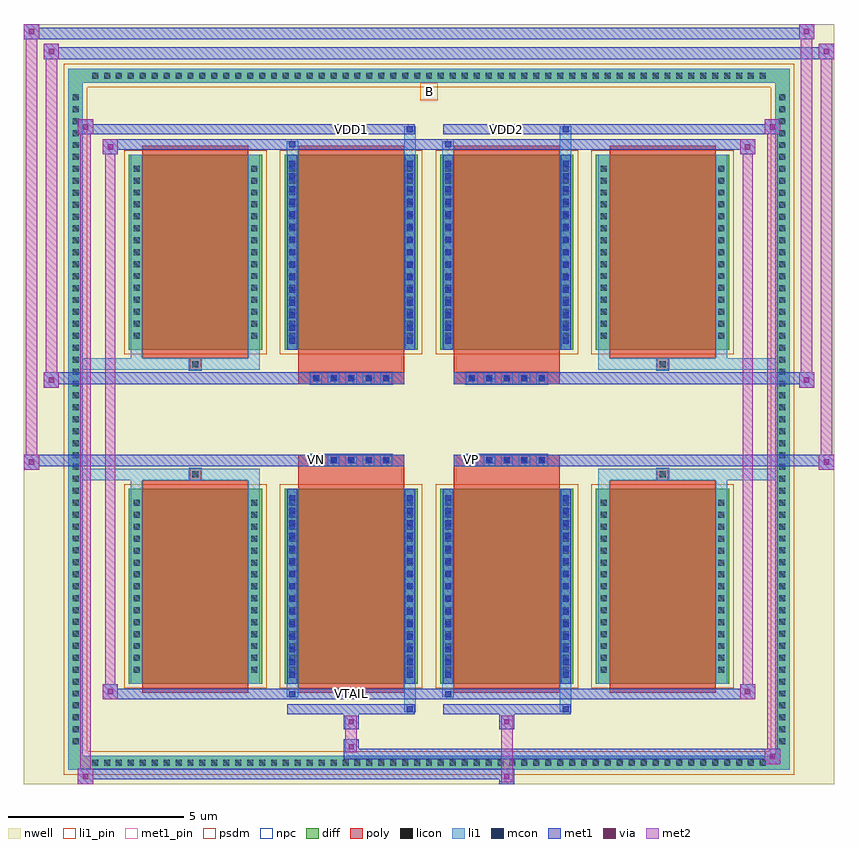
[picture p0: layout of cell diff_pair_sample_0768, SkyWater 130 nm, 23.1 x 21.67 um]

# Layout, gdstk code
import gdstk
lib = gdstk.Library(unit=1e-6, precision=5e-09)
def R(c, l, rs):  # rectangles x0, y0, x1, y1
    for r in rs: c.add(gdstk.rectangle(r[:2], r[2:], *l))
def A(c, l, x, y, w, h, nx, ny, dx, dy):  # array of equal rectangles
    R(c, l, [(x+i*dx, y+j*dy, x+i*dx+w, y+j*dy+h) for i in range(nx) for j in range(ny)])
def P(c, l, *ps):  # polygons
    for p in ps: c.add(gdstk.Polygon(p, *l))
nwell = (64, 20)
diff = (65, 20)
poly = (66, 20)
licon = (66, 44)
li1_pin = (67, 16)
li1 = (67, 20)
mcon = (67, 44)
met1_pin = (68, 16)
met1 = (68, 20)
via = (68, 44)
met2 = (69, 20)
psdm = (94, 20)
npc = (95, 20)

diff_pair_sample_0768 = lib.new_cell('diff_pair_sample_0768')
R(diff_pair_sample_0768, nwell, [(-11.55,-10.4,11.55,11.27), (-8.87,-8.59,-0.01,-0.805), (0.01,-8.59,8.87,-0.805), (-8.87,0.805,-0.01,8.59), (0.01,0.805,8.87,8.59)])
A(diff_pair_sample_0768, diff, -9.725, -10, 0.41, 0.41, 57, 2, 0.34, 19.59)
A(diff_pair_sample_0768, diff, -10.28, -9.385, 0.41, 0.41, 1, 55, 0, 0.34)
A(diff_pair_sample_0768, diff, 9.87, -9.385, 0.41, 0.41, 1, 55, 0, 0.34)
A(diff_pair_sample_0768, diff, -8.56, -7.545, 3.8, 5.56, 4, 2, 4.44, 9.53)
R(diff_pair_sample_0768, diff, [(-9.725,-10,9.725,-9.59), (-10.28,-9.385,-9.87,9.385), (9.87,-9.385,10.28,9.385), (-9.725,9.59,9.725,10)])
P(diff_pair_sample_0768, diff, [(10.28,10),(-10.28,10),(-10.28,-9.59),(-9.87,-9.59),(-9.87,9.59),(9.87,9.59),(9.87,-9.59),(-9.87,-9.59),(-10.28,-9.59),(-10.28,-10),(10.28,-10)])
A(diff_pair_sample_0768, poly, -8.17, -7.795, 3.02, 6.06, 4, 2, 4.44, 9.53)
A(diff_pair_sample_0768, poly, -3.385, -1.335, 0.33, 0.33, 5, 2, 0.5, 2.34)
A(diff_pair_sample_0768, poly, 1.055, -1.335, 0.33, 0.33, 5, 2, 0.5, 2.34)
R(diff_pair_sample_0768, poly, [(-6.825,-1.735,-6.495,-1.405), (-6.825,-1.735,-6.495,-1.405), (-3.73,-1.735,-0.71,-1.335), (0.71,-1.735,3.73,-1.335), (6.495,-1.735,6.825,-1.405), (6.495,-1.735,6.825,-1.405), (-3.73,-1.335,-0.71,-1.005), (0.71,-1.335,3.73,-1.005), (-3.73,1.005,-0.71,1.335), (0.71,1.005,3.73,1.335), (-3.73,1.335,-0.71,1.735), (0.71,1.335,3.73,1.735), (-6.825,1.405,-6.495,1.735), (-6.825,1.405,-6.495,1.735), (6.495,1.405,6.825,1.735), (6.495,1.405,6.825,1.735)])
A(diff_pair_sample_0768, licon, -9.605, -9.88, 0.17, 0.17, 57, 2, 0.34, 19.59)
A(diff_pair_sample_0768, licon, -10.16, -9.265, 0.17, 0.17, 1, 55, 0, 0.34)
A(diff_pair_sample_0768, licon, 9.99, -9.265, 0.17, 0.17, 1, 55, 0, 0.34)
A(diff_pair_sample_0768, licon, -8.42, -7.23, 0.17, 0.17, 1, 15, 0, 0.34)
A(diff_pair_sample_0768, licon, -5.07, -7.23, 0.17, 0.17, 1, 15, 0, 0.34)
A(diff_pair_sample_0768, licon, -3.98, -7.23, 0.17, 0.17, 1, 15, 0, 0.34)
A(diff_pair_sample_0768, licon, -0.63, -7.23, 0.17, 0.17, 1, 15, 0, 0.34)
A(diff_pair_sample_0768, licon, 0.46, -7.23, 0.17, 0.17, 1, 15, 0, 0.34)
A(diff_pair_sample_0768, licon, 3.81, -7.23, 0.17, 0.17, 1, 15, 0, 0.34)
A(diff_pair_sample_0768, licon, 4.9, -7.23, 0.17, 0.17, 1, 15, 0, 0.34)
A(diff_pair_sample_0768, licon, 8.25, -7.23, 0.17, 0.17, 1, 15, 0, 0.34)
A(diff_pair_sample_0768, licon, -3.305, -1.255, 0.17, 0.17, 5, 2, 0.5, 2.34)
A(diff_pair_sample_0768, licon, 1.135, -1.255, 0.17, 0.17, 5, 2, 0.5, 2.34)
A(diff_pair_sample_0768, licon, -8.42, 2.3, 0.17, 0.17, 1, 15, 0, 0.34)
A(diff_pair_sample_0768, licon, -5.07, 2.3, 0.17, 0.17, 1, 15, 0, 0.34)
A(diff_pair_sample_0768, licon, -3.98, 2.3, 0.17, 0.17, 1, 15, 0, 0.34)
A(diff_pair_sample_0768, licon, -0.63, 2.3, 0.17, 0.17, 1, 15, 0, 0.34)
A(diff_pair_sample_0768, licon, 0.46, 2.3, 0.17, 0.17, 1, 15, 0, 0.34)
A(diff_pair_sample_0768, licon, 3.81, 2.3, 0.17, 0.17, 1, 15, 0, 0.34)
A(diff_pair_sample_0768, licon, 4.9, 2.3, 0.17, 0.17, 1, 15, 0, 0.34)
A(diff_pair_sample_0768, licon, 8.25, 2.3, 0.17, 0.17, 1, 15, 0, 0.34)
R(diff_pair_sample_0768, licon, [(-6.745,-1.655,-6.575,-1.485), (6.575,-1.655,6.745,-1.485), (-6.745,1.485,-6.575,1.655), (6.575,1.485,6.745,1.655)])
R(diff_pair_sample_0768, li1_pin, [(-0.25,9.09,0.25,9.59)])
A(diff_pair_sample_0768, li1, -9.685, -9.96, 0.33, 0.33, 57, 2, 0.34, 19.59)
A(diff_pair_sample_0768, li1, -10.24, -9.345, 0.33, 0.33, 1, 55, 0, 0.34)
A(diff_pair_sample_0768, li1, 9.91, -9.345, 0.33, 0.33, 1, 55, 0, 0.34)
A(diff_pair_sample_0768, li1, -3.98, -7.37, 0.17, 0.17, 1, 15, 0, 0.36)
A(diff_pair_sample_0768, li1, -0.63, -7.37, 0.17, 0.17, 1, 15, 0, 0.36)
A(diff_pair_sample_0768, li1, 0.46, -7.37, 0.17, 0.17, 1, 15, 0, 0.36)
A(diff_pair_sample_0768, li1, 3.81, -7.37, 0.17, 0.17, 1, 15, 0, 0.36)
A(diff_pair_sample_0768, li1, -8.5, -7.31, 0.33, 0.33, 1, 15, 0, 0.34)
A(diff_pair_sample_0768, li1, -5.15, -7.31, 0.33, 0.33, 1, 15, 0, 0.34)
A(diff_pair_sample_0768, li1, -4.06, -7.31, 0.33, 0.33, 1, 15, 0, 0.34)
A(diff_pair_sample_0768, li1, -0.71, -7.31, 0.33, 0.33, 1, 15, 0, 0.34)
A(diff_pair_sample_0768, li1, 0.38, -7.31, 0.33, 0.33, 1, 15, 0, 0.34)
A(diff_pair_sample_0768, li1, 3.73, -7.31, 0.33, 0.33, 1, 15, 0, 0.34)
A(diff_pair_sample_0768, li1, 4.82, -7.31, 0.33, 0.33, 1, 15, 0, 0.34)
A(diff_pair_sample_0768, li1, 8.17, -7.31, 0.33, 0.33, 1, 15, 0, 0.34)
A(diff_pair_sample_0768, li1, -3.385, -1.335, 0.33, 0.33, 5, 2, 0.5, 2.34)
A(diff_pair_sample_0768, li1, 1.055, -1.335, 0.33, 0.33, 5, 2, 0.5, 2.34)
A(diff_pair_sample_0768, li1, -3.98, 2.16, 0.17, 0.17, 1, 15, 0, 0.36)
A(diff_pair_sample_0768, li1, -0.63, 2.16, 0.17, 0.17, 1, 15, 0, 0.36)
A(diff_pair_sample_0768, li1, 0.46, 2.16, 0.17, 0.17, 1, 15, 0, 0.36)
A(diff_pair_sample_0768, li1, 3.81, 2.16, 0.17, 0.17, 1, 15, 0, 0.36)
A(diff_pair_sample_0768, li1, -8.5, 2.22, 0.33, 0.33, 1, 15, 0, 0.34)
A(diff_pair_sample_0768, li1, -5.15, 2.22, 0.33, 0.33, 1, 15, 0, 0.34)
A(diff_pair_sample_0768, li1, -4.06, 2.22, 0.33, 0.33, 1, 15, 0, 0.34)
A(diff_pair_sample_0768, li1, -0.71, 2.22, 0.33, 0.33, 1, 15, 0, 0.34)
A(diff_pair_sample_0768, li1, 0.38, 2.22, 0.33, 0.33, 1, 15, 0, 0.34)
A(diff_pair_sample_0768, li1, 3.73, 2.22, 0.33, 0.33, 1, 15, 0, 0.34)
A(diff_pair_sample_0768, li1, 4.82, 2.22, 0.33, 0.33, 1, 15, 0, 0.34)
A(diff_pair_sample_0768, li1, 8.17, 2.22, 0.33, 0.33, 1, 15, 0, 0.34)
R(diff_pair_sample_0768, li1, [(-10.28,-10,-9.87,-9.59), (-10.28,-10,-9.87,-9.59), (-9.87,-10,9.87,-9.59), (9.87,-10,10.28,-9.59), (9.87,-10,10.28,-9.59), (-10.28,-9.59,-9.87,9.59), (9.87,-9.59,10.28,9.59), (-0.71,-8.35,-0.38,-7.545), (-0.63,-8.35,-0.46,-8.18), (3.73,-8.35,4.06,-7.545), (3.81,-8.35,3.98,-8.18), (-4.06,-7.92,-3.73,-7.545), (-3.98,-7.92,-3.81,-7.75), (0.38,-7.92,0.71,-7.545), (0.46,-7.92,0.63,-7.75), (-8.5,-7.545,-8.17,-1.985), (-5.15,-7.545,-4.82,-1.985), (-4.06,-7.545,-3.73,-1.985), (-0.71,-7.545,-0.38,-1.985), (0.38,-7.545,0.71,-1.985), (3.73,-7.545,4.06,-1.985), (4.82,-7.545,5.15,-1.985), (8.17,-7.545,8.5,-1.985), (-3.98,-7.37,-3.81,-2.16), (-0.63,-7.37,-0.46,-2.16), (0.46,-7.37,0.63,-2.16), (3.81,-7.37,3.98,-2.16), (-8.5,-1.985,-8.17,-1.405), (-5.15,-1.985,-4.82,-1.405), (4.82,-1.985,5.15,-1.405), (8.17,-1.985,8.5,-1.405), (-10.28,-1.735,-6.825,-1.405), (-8.5,-1.735,-6.825,-1.405), (-6.825,-1.735,-6.495,-1.405), (-6.495,-1.735,-4.82,-1.405), (4.82,-1.735,6.495,-1.405), (6.495,-1.735,6.825,-1.405), (6.495,-1.735,10.28,-1.405), (6.825,-1.735,8.5,-1.405), (-10.28,1.405,-6.825,1.735), (-8.5,1.405,-6.825,1.735), (-8.5,1.405,-8.17,1.985), (-6.825,1.405,-6.495,1.735), (-6.495,1.405,-4.82,1.735), (-5.15,1.405,-4.82,1.985), (4.82,1.405,6.495,1.735), (4.82,1.405,5.15,1.985), (6.495,1.405,6.825,1.735), (6.495,1.405,10.28,1.735), (6.825,1.405,8.5,1.735), (8.17,1.405,8.5,1.985), (-8.5,1.985,-8.17,7.545), (-5.15,1.985,-4.82,7.545), (-4.06,1.985,-3.73,7.545), (-0.71,1.985,-0.38,7.545), (0.38,1.985,0.71,7.545), (3.73,1.985,4.06,7.545), (4.82,1.985,5.15,7.545), (8.17,1.985,8.5,7.545), (-3.98,2.16,-3.81,7.37), (-0.63,2.16,-0.46,7.37), (0.46,2.16,0.63,7.37), (3.81,2.16,3.98,7.37), (-4.06,7.545,-3.73,7.92), (-0.71,7.545,-0.38,8.35), (0.38,7.545,0.71,7.92), (3.73,7.545,4.06,8.35), (-3.98,7.75,-3.81,7.92), (0.46,7.75,0.63,7.92), (-0.63,8.18,-0.46,8.35), (3.81,8.18,3.98,8.35), (-10.28,9.59,-9.87,10), (-10.28,9.59,-9.87,10), (-9.87,9.59,9.87,10), (9.87,9.59,10.28,10), (9.87,9.59,10.28,10)])
A(diff_pair_sample_0768, mcon, -3.98, -7.37, 0.17, 0.17, 1, 15, 0, 0.36)
A(diff_pair_sample_0768, mcon, -0.63, -7.37, 0.17, 0.17, 1, 15, 0, 0.36)
A(diff_pair_sample_0768, mcon, 0.46, -7.37, 0.17, 0.17, 1, 15, 0, 0.36)
A(diff_pair_sample_0768, mcon, 3.81, -7.37, 0.17, 0.17, 1, 15, 0, 0.36)
A(diff_pair_sample_0768, mcon, -3.305, -1.255, 0.17, 0.17, 5, 2, 0.5, 2.34)
A(diff_pair_sample_0768, mcon, 1.135, -1.255, 0.17, 0.17, 5, 2, 0.5, 2.34)
A(diff_pair_sample_0768, mcon, -3.98, 2.16, 0.17, 0.17, 1, 15, 0, 0.36)
A(diff_pair_sample_0768, mcon, -0.63, 2.16, 0.17, 0.17, 1, 15, 0, 0.36)
A(diff_pair_sample_0768, mcon, 0.46, 2.16, 0.17, 0.17, 1, 15, 0, 0.36)
A(diff_pair_sample_0768, mcon, 3.81, 2.16, 0.17, 0.17, 1, 15, 0, 0.36)
R(diff_pair_sample_0768, mcon, [(-0.63,-8.35,-0.46,-8.18), (3.81,-8.35,3.98,-8.18), (-3.98,-7.92,-3.81,-7.75), (0.46,-7.92,0.63,-7.75), (-3.98,7.75,-3.81,7.92), (0.46,7.75,0.63,7.92), (-0.63,8.18,-0.46,8.35), (3.81,8.18,3.98,8.35)])
R(diff_pair_sample_0768, met1_pin, [(-2.355,-7.96,-2.085,-7.69), (-3.355,-1.295,-3.085,-1.025), (1.085,-1.295,1.355,-1.025), (-2.355,8.14,-2.085,8.41), (2.085,8.14,2.355,8.41)])
A(diff_pair_sample_0768, met1, -4.04, -7.43, 0.29, 0.29, 1, 15, 0, 0.36)
A(diff_pair_sample_0768, met1, -0.69, -7.43, 0.29, 0.29, 1, 15, 0, 0.36)
A(diff_pair_sample_0768, met1, 0.4, -7.43, 0.29, 0.29, 1, 15, 0, 0.36)
A(diff_pair_sample_0768, met1, 3.75, -7.43, 0.29, 0.29, 1, 15, 0, 0.36)
A(diff_pair_sample_0768, met1, -3.365, -1.315, 0.29, 0.29, 5, 2, 0.5, 2.34)
A(diff_pair_sample_0768, met1, 1.075, -1.315, 0.29, 0.29, 5, 2, 0.5, 2.34)
A(diff_pair_sample_0768, met1, -4.04, 2.1, 0.29, 0.29, 1, 15, 0, 0.36)
A(diff_pair_sample_0768, met1, -0.69, 2.1, 0.29, 0.29, 1, 15, 0, 0.36)
A(diff_pair_sample_0768, met1, 0.4, 2.1, 0.29, 0.29, 1, 15, 0, 0.36)
A(diff_pair_sample_0768, met1, 3.75, 2.1, 0.29, 0.29, 1, 15, 0, 0.36)
R(diff_pair_sample_0768, met1, [(-10.01,-10.4,-9.58,-9.97), (2.005,-10.4,2.435,-9.97), (-10.01,-10.26,2.435,-9.97), (9.58,-9.83,10.01,-9.4), (-2.435,-9.69,10.01,-9.4), (-2.435,-9.55,-2.005,-9.12), (-2.435,-8.84,-2.005,-8.41), (2.005,-8.84,2.435,-8.41), (-4.04,-8.41,-0.4,-8.12), (-0.69,-8.41,-0.4,-8.12), (0.4,-8.41,4.04,-8.12), (3.75,-8.41,4.04,-8.12), (-9.3,-7.98,-8.87,-7.55), (-9.3,-7.98,-4.04,-7.69), (-4.04,-7.98,-3.75,-7.69), (-4.04,-7.98,-0.4,-7.69), (-0.4,-7.98,0.4,-7.69), (0.4,-7.98,0.69,-7.69), (0.4,-7.98,4.04,-7.69), (4.04,-7.98,9.3,-7.69), (8.87,-7.98,9.3,-7.55), (-4.04,-7.545,-3.75,-1.985), (-0.69,-7.545,-0.4,-1.985), (0.4,-7.545,0.69,-1.985), (3.75,-7.545,4.04,-1.985), (-11.55,-1.435,-11.12,-1.005), (11.12,-1.435,11.55,-1.005), (-11.55,-1.335,-0.71,-1.005), (-3.73,-1.335,-0.71,-1.005), (0.71,-1.335,3.73,-1.005), (0.71,-1.335,11.55,-1.005), (-10.98,0.905,-10.55,1.335), (10.55,0.905,10.98,1.335), (-10.98,1.005,-3.73,1.335), (-3.73,1.005,-0.71,1.335), (0.71,1.005,3.73,1.335), (3.73,1.005,10.98,1.335), (-4.04,1.985,-3.75,7.545), (-0.69,1.985,-0.4,7.545), (0.4,1.985,0.69,7.545), (3.75,1.985,4.04,7.545), (-9.3,7.55,-8.87,7.98), (8.87,7.55,9.3,7.98), (-9.3,7.69,-4.04,7.98), (-4.04,7.69,-3.75,7.98), (-4.04,7.69,-0.4,7.98), (-0.4,7.69,0.4,7.98), (0.4,7.69,0.69,7.98), (0.4,7.69,4.04,7.98), (4.04,7.69,9.3,7.98), (-10.01,8.12,-9.58,8.55), (-10.01,8.12,-4.04,8.41), (-4.04,8.12,-0.4,8.41), (-0.69,8.12,-0.4,8.41), (0.4,8.12,4.04,8.41), (3.75,8.12,4.04,8.41), (4.04,8.12,10.01,8.41), (9.58,8.12,10.01,8.55), (-10.98,10.27,-10.55,10.7), (-10.98,10.27,-8.87,10.6), (-8.87,10.27,8.87,10.6), (8.87,10.27,11.55,10.6), (11.12,10.27,11.55,10.7), (-11.55,10.84,-11.12,11.27), (-11.55,10.84,-8.87,11.17), (-8.87,10.84,8.87,11.17), (8.87,10.84,10.98,11.17), (10.55,10.84,10.98,11.27)])
R(diff_pair_sample_0768, via, [(-9.87,-10.26,-9.72,-10.11), (2.145,-10.26,2.295,-10.11), (9.72,-9.69,9.87,-9.54), (-2.295,-9.41,-2.145,-9.26), (-2.295,-8.7,-2.145,-8.55), (2.145,-8.7,2.295,-8.55), (-9.16,-7.84,-9.01,-7.69), (9.01,-7.84,9.16,-7.69), (-11.41,-1.295,-11.26,-1.145), (11.26,-1.295,11.41,-1.145), (-10.84,1.045,-10.69,1.195), (10.69,1.045,10.84,1.195), (-9.16,7.69,-9.01,7.84), (9.01,7.69,9.16,7.84), (-9.87,8.26,-9.72,8.41), (9.72,8.26,9.87,8.41), (-10.84,10.41,-10.69,10.56), (11.26,10.41,11.41,10.56), (-11.41,10.98,-11.26,11.13), (10.69,10.98,10.84,11.13)])
R(diff_pair_sample_0768, met2, [(-10.01,-10.4,-9.58,-9.97), (-9.94,-10.4,-9.65,8.55), (-9.65,-10.4,-9.58,-9.97), (-9.96,-10.35,-9.63,-10.02), (2.055,-10.35,2.385,-10.02), (2.055,-10.02,2.385,-8.79), (9.58,-9.83,10.01,-9.4), (9.65,-9.83,9.94,8.55), (9.94,-9.83,10.01,-9.4), (9.63,-9.78,9.96,-9.45), (-2.385,-9.5,-2.055,-9.17), (-2.385,-9.17,-2.055,-8.79), (-2.385,-8.79,-2.055,-8.46), (2.055,-8.79,2.385,-8.46), (-9.3,-7.98,-8.87,-7.55), (-9.23,-7.98,-8.94,7.98), (-8.94,-7.98,-8.87,-7.55), (8.87,-7.98,9.3,-7.55), (8.94,-7.98,9.23,7.98), (9.23,-7.98,9.3,-7.55), (-9.25,-7.93,-8.92,-7.6), (8.92,-7.93,9.25,-7.6), (-11.55,-1.435,-11.12,-1.005), (-11.5,-1.435,-11.17,11.27), (-11.17,-1.435,-11.12,-1.005), (11.12,-1.435,11.55,-1.005), (11.17,-1.435,11.5,10.7), (11.5,-1.435,11.55,-1.005), (-11.5,-1.385,-11.17,-1.055), (11.17,-1.385,11.5,-1.055), (-10.98,0.905,-10.55,1.335), (-10.93,0.905,-10.6,10.7), (-10.6,0.905,-10.55,1.335), (10.55,0.905,10.98,1.335), (10.6,0.905,10.93,11.27), (10.93,0.905,10.98,1.335), (-10.93,0.955,-10.6,1.285), (10.6,0.955,10.93,1.285), (-9.3,7.55,-8.87,7.98), (-8.94,7.55,-8.87,7.98), (8.87,7.55,9.3,7.98), (9.23,7.55,9.3,7.98), (-9.25,7.6,-8.92,7.93), (8.92,7.6,9.25,7.93), (-10.01,8.12,-9.58,8.55), (-9.65,8.12,-9.58,8.55), (9.58,8.12,10.01,8.55), (9.94,8.12,10.01,8.55), (-9.96,8.17,-9.63,8.5), (9.63,8.17,9.96,8.5), (-10.98,10.27,-10.55,10.7), (-10.6,10.27,-10.55,10.7), (11.12,10.27,11.55,10.7), (11.5,10.27,11.55,10.7), (-10.93,10.32,-10.6,10.65), (11.17,10.32,11.5,10.65), (-11.55,10.84,-11.12,11.27), (-11.17,10.84,-11.12,11.27), (10.55,10.84,10.98,11.27), (10.93,10.84,10.98,11.27), (-11.5,10.89,-11.17,11.22), (10.6,10.89,10.93,11.22)])
A(diff_pair_sample_0768, psdm, -8.69, -7.675, 4.06, 5.82, 4, 2, 4.44, 9.53)
P(diff_pair_sample_0768, psdm, [(10.41,10.13),(-10.41,10.13),(-10.41,-9.46),(-9.74,-9.46),(-9.74,9.46),(9.74,9.46),(9.74,-9.46),(-9.74,-9.46),(-10.41,-9.46),(-10.41,-10.13),(10.41,-10.13)])
A(diff_pair_sample_0768, npc, -3.405, -1.355, 0.37, 0.37, 5, 2, 0.5, 2.34)
A(diff_pair_sample_0768, npc, 1.035, -1.355, 0.37, 0.37, 5, 2, 0.5, 2.34)
R(diff_pair_sample_0768, npc, [(-6.845,-1.755,-6.475,-1.385), (6.475,-1.755,6.845,-1.385), (-3.405,-1.355,-2.535,-0.985), (-3.405,-1.355,-2.535,-0.985), (-2.905,-1.355,-2.035,-0.985), (-2.905,-1.355,-2.035,-0.985), (-2.405,-1.355,-1.535,-0.985), (-2.405,-1.355,-1.535,-0.985), (-1.905,-1.355,-1.035,-0.985), (-1.905,-1.355,-1.035,-0.985), (1.035,-1.355,1.905,-0.985), (1.035,-1.355,1.905,-0.985), (1.535,-1.355,2.405,-0.985), (1.535,-1.355,2.405,-0.985), (2.035,-1.355,2.905,-0.985), (2.035,-1.355,2.905,-0.985), (2.535,-1.355,3.405,-0.985), (2.535,-1.355,3.405,-0.985), (-3.405,0.985,-2.535,1.355), (-3.405,0.985,-2.535,1.355), (-2.905,0.985,-2.035,1.355), (-2.905,0.985,-2.035,1.355), (-2.405,0.985,-1.535,1.355), (-2.405,0.985,-1.535,1.355), (-1.905,0.985,-1.035,1.355), (-1.905,0.985,-1.035,1.355), (1.035,0.985,1.905,1.355), (1.035,0.985,1.905,1.355), (1.535,0.985,2.405,1.355), (1.535,0.985,2.405,1.355), (2.035,0.985,2.905,1.355), (2.035,0.985,2.905,1.355), (2.535,0.985,3.405,1.355), (2.535,0.985,3.405,1.355), (-6.845,1.385,-6.475,1.755), (6.475,1.385,6.845,1.755)])
diff_pair_sample_0768.add(gdstk.Label('VTAIL', (-2.22,-7.825), layer=68, texttype=5))
diff_pair_sample_0768.add(gdstk.Label('VN', (-3.22,-1.16), layer=68, texttype=5))
diff_pair_sample_0768.add(gdstk.Label('VP', (1.22,-1.16), layer=68, texttype=5))
diff_pair_sample_0768.add(gdstk.Label('B', (0,9.34), layer=67, texttype=5))
diff_pair_sample_0768.add(gdstk.Label('VDD2', (2.22,8.275), layer=68, texttype=5))
diff_pair_sample_0768.add(gdstk.Label('VDD1', (-2.22,8.275), layer=68, texttype=5))

lib.write_gds('diff_pair_sample_0768.gds')
